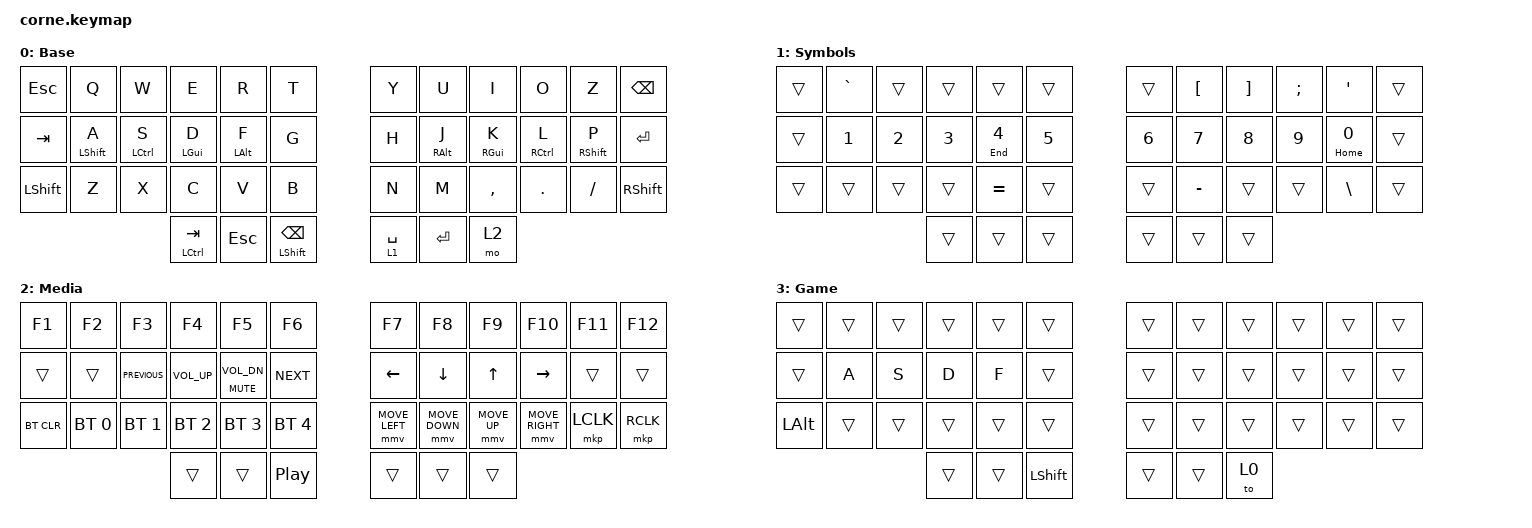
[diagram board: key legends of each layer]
/*
 * Copyright (c) 2020 The ZMK Contributors
 *
 * SPDX-License-Identifier: MIT
 */

#include <behaviors.dtsi>
#include <dt-bindings/zmk/bt.h>
#include <dt-bindings/zmk/keys.h>
#include <dt-bindings/zmk/pointing.h>

/ {
    combos {
        compatible = "zmk,combos";

        mclick {
            bindings = <&mkp MCLK>;
            key-positions = <34 35>;
            layers = <2>;
        };

        t {
            bindings = <&kp T>;
            key-positions = <15 16>;
            layers = <0>;
        };

        g {
            bindings = <&kp G>;
            key-positions = <14 15>;
            layers = <0>;
        };

        b {
            bindings = <&kp B>;
            key-positions = <16 13>;
            layers = <0>;
        };

        c {
            bindings = <&kp C>;
            key-positions = <16 14>;
            layers = <0>;
        };

        n {
            bindings = <&kp N>;
            key-positions = <19 20>;
            layers = <0>;
        };

        h {
            bindings = <&kp H>;
            key-positions = <20 21>;
            layers = <0>;
        };

        y {
            bindings = <&kp Y>;
            key-positions = <19 22>;
            layers = <0>;
        };

        game {
            bindings = <&to 3>;
            key-positions = <36 37>;
            layers = <0>;
        };
    };

    behaviors {
        hml: hml {
            compatible = "zmk,behavior-hold-tap";
            label = "HML";
            #binding-cells = <2>;
            hold-trigger-key-positions = <13 14 15 16>;
            bindings = <&kp>, <&kp>;

            tapping-term-ms = <200>;
            require-prior-idle-ms = <120>;
            flavor = "tap-preferred";
            hold-trigger-on-release;
            quick-tap-ms = <200>;
        };

        hmr: hmr {
            compatible = "zmk,behavior-hold-tap";
            label = "HMR";
            #binding-cells = <2>;
            hold-trigger-key-positions = <19 20 21 22>;
            bindings = <&kp>, <&kp>;

            tapping-term-ms = <200>;
            require-prior-idle-ms = <120>;
            flavor = "tap-preferred";
            hold-trigger-on-release;
            quick-tap-ms = <200>;
        };
    };

    keymap {
        compatible = "zmk,keymap";

        default_layer {
            // -----------------------------------------------------------------------------------------
            // |  TAB |  Q  |  W  |  E  |  R  |  T  |   |  Y  |  U   |  I  |  O  |  P  | BKSP |
            // | CTRL |  A  |  S  |  D  |  F  |  G  |   |  H  |  J   |  K  |  L  |  ;  |  '   |
            // | SHFT |  Z  |  X  |  C  |  V  |  B  |   |  N  |  M   |  ,  |  .  |  /  | ESC  |
            //                    | GUI | LWR | SPC |   | ENT | RSE  | ALT |

            display-name = "Base";
            bindings = <
&kp ESCAPE  &kp Q              &kp W                &kp E                  &kp R            &kp T                        &kp Y        &kp U             &kp I             &kp O                 &kp Z               &kp BSPC
&kp TAB     &hml LEFT_SHIFT A  &hml LEFT_CONTROL S  &hml LEFT_GUI D        &hml LEFT_ALT F  &kp G                        &kp H        &hmr RIGHT_ALT J  &hmr RIGHT_GUI K  &hmr RIGHT_CONTROL L  &hmr RIGHT_SHIFT P  &kp RET
&kp LSHFT   &kp Z              &kp X                &kp C                  &kp V            &kp B                        &kp N        &kp M             &kp COMMA         &kp DOT               &kp FSLH            &kp RIGHT_SHIFT
                                                    &hml LEFT_CONTROL TAB  &kp ESC          &hml LEFT_SHIFT BACKSPACE    &lt 1 SPACE  &kp RET           &mo 2
            >;
        };

        Symbols {
            // -----------------------------------------------------------------------------------------
            // |  TAB |  !  |  @  |  #  |  $  |  %  |   |  ^  |  &  |  *  |  (  |  )  | BKSP |
            // | CTRL |     |     |     |     |     |   |  -  |  =  |  [  |  ]  |  \  |  `   |
            // | SHFT |     |     |     |     |     |   |  _  |  +  |  {  |  }  | "|" |  ~   |
            //                    | GUI |     | SPC |   | ENT |     | ALT |

            display-name = "Symbols";
            bindings = <
&trans  &kp GRAVE     &trans        &trans        &trans            &trans          &trans        &kp LEFT_BRACKET  &kp RIGHT_BRACKET  &kp SEMI      &kp APOS           &trans
&trans  &kp NUMBER_1  &kp NUMBER_2  &kp NUMBER_3  &mt END NUMBER_4  &kp NUMBER_5    &kp NUMBER_6  &kp NUMBER_7      &kp NUMBER_8       &kp NUMBER_9  &mt HOME NUMBER_0  &trans
&trans  &trans        &trans        &trans        &kp EQUAL         &trans          &trans        &kp MINUS         &trans             &trans        &kp BACKSLASH      &trans
                                    &trans        &trans            &trans          &trans        &trans            &trans
            >;
        };

        Media {
            // -----------------------------------------------------------------------------------------
            // |  TAB |  1  |  2  |  3  |  4  |  5  |   |  6  |  7  |  8  |  9  |  0  | BKSP |
            // | BTCLR| BT1 | BT2 | BT3 | BT4 | BT5 |   | LFT | DWN |  UP | RGT |     |      |
            // | SHFT |     |     |     |     |     |   |     |     |     |     |     |      |
            //                    | GUI |     | SPC |   | ENT |     | ALT |

            display-name = "Media";
            bindings = <
&kp F1      &kp F2        &kp F3          &kp F4           &kp F5               &kp F6              &kp F7          &kp F8          &kp F9        &kp F10          &kp F11    &kp F12
&trans      &trans        &kp C_PREVIOUS  &kp C_VOLUME_UP  &mt C_MUTE C_VOL_DN  &kp C_NEXT          &kp LEFT        &kp DOWN        &kp UP        &kp RIGHT        &trans     &trans
&bt BT_CLR  &bt BT_SEL 0  &bt BT_SEL 1    &bt BT_SEL 2     &bt BT_SEL 3         &bt BT_SEL 4        &mmv MOVE_LEFT  &mmv MOVE_DOWN  &mmv MOVE_UP  &mmv MOVE_RIGHT  &mkp LCLK  &mkp RCLK
                                          &trans           &trans               &kp C_PLAY_PAUSE    &trans          &trans          &trans
            >;
        };

        Game {
            display-name = "Game";
            bindings = <
&trans        &trans  &trans  &trans  &trans  &trans            &trans  &trans  &trans  &trans  &trans  &trans
&trans        &kp A   &kp S   &kp D   &kp F   &trans            &trans  &trans  &trans  &trans  &trans  &trans
&kp LEFT_ALT  &trans  &trans  &trans  &trans  &trans            &trans  &trans  &trans  &trans  &trans  &trans
                              &trans  &trans  &kp LEFT_SHIFT    &trans  &trans  &to 0
            >;
        };
    };
};
